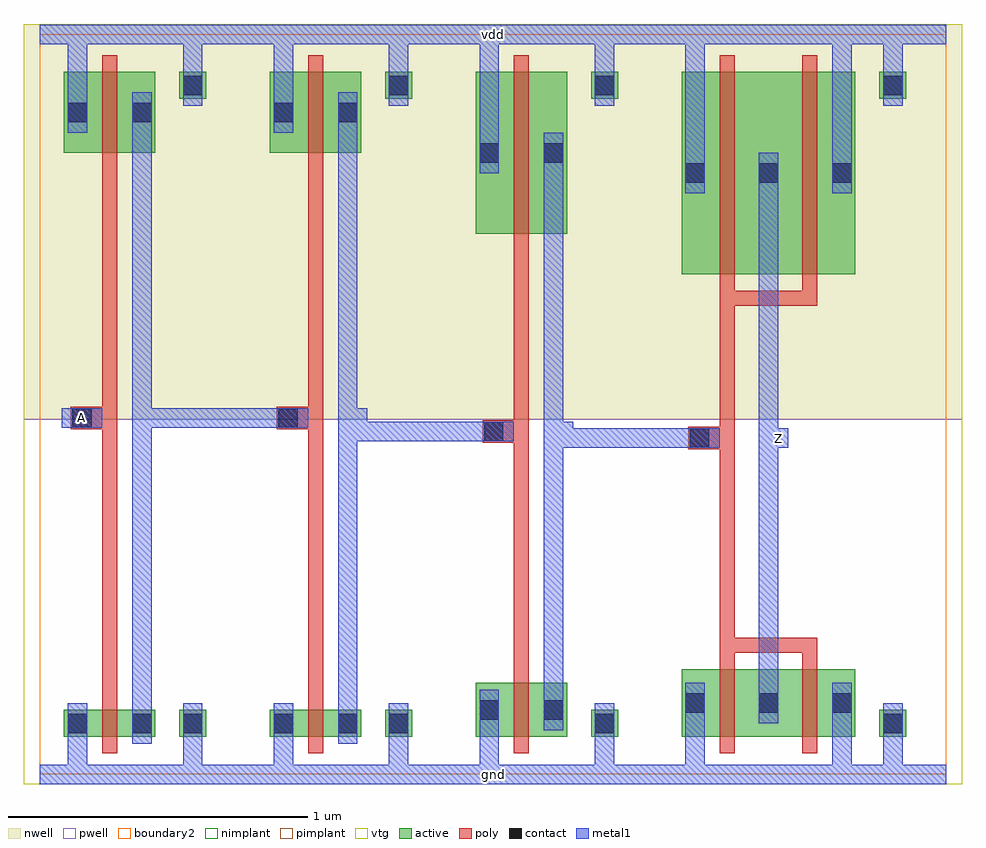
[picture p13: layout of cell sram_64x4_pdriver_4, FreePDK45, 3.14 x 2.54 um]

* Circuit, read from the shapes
.subckt sram_64x4_pdriver_4 A Z gnd vdd
M1 sram_64x4_pinv_1_1/A A gnd gnd nfet w=0.09u l=0.05u
M2 sram_64x4_pinv_12_2/A sram_64x4_pinv_1_1/A gnd gnd nfet w=0.09u l=0.05u
M3 sram_64x4_pinv_10_3/A sram_64x4_pinv_12_2/A gnd gnd nfet w=0.18u l=0.05u
M4 Z sram_64x4_pinv_10_3/A gnd gnd nfet w=0.225u l=0.05u m=2
M5 sram_64x4_pinv_1_1/A A vdd vdd pfet w=0.27u l=0.05u
M6 sram_64x4_pinv_12_2/A sram_64x4_pinv_1_1/A vdd vdd pfet w=0.27u l=0.05u
M7 sram_64x4_pinv_10_3/A sram_64x4_pinv_12_2/A vdd vdd pfet w=0.54u l=0.05u
M8 Z sram_64x4_pinv_10_3/A vdd vdd pfet w=0.675u l=0.05u m=2
.ends

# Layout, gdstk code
import gdstk
lib = gdstk.Library(unit=1e-6, precision=5e-10)
def R(c, l, rs):  # rectangles x0, y0, x1, y1
    for r in rs: c.add(gdstk.rectangle(r[:2], r[2:], *l))
def A(c, l, x, y, w, h, nx, ny, dx, dy):  # array of equal rectangles
    R(c, l, [(x+i*dx, y+j*dy, x+i*dx+w, y+j*dy+h) for i in range(nx) for j in range(ny)])
active = (1, 0)
pwell = (2, 0)
nwell = (3, 0)
nimplant = (4, 0)
pimplant = (5, 0)
vtg = (6, 0)
poly = (9, 0)
contact = (10, 0)
metal1 = (11, 0)
boundary2 = (239, 0)

sram_64x4_contact_11 = lib.new_cell('sram_64x4_contact_11')
R(sram_64x4_contact_11, active, [(0,0.0225,0.09,0.1125)])
R(sram_64x4_contact_11, nwell, [(-0.055,-0.0325,0.145,0.1675)])
R(sram_64x4_contact_11, pimplant, [(0,0.0225,0.09,0.1125)])
R(sram_64x4_contact_11, contact, [(0.0125,0.035,0.0775,0.1)])
R(sram_64x4_contact_11, metal1, [(0.0125,0,0.0775,0.135)])
R(sram_64x4_contact_11, boundary2, [(-0.055,-0.0325,0.145,0.1675)])

sram_64x4_pmos_m1_w0_270 = lib.new_cell('sram_64x4_pmos_m1_w0_270_sm1_dm1_da_p')
R(sram_64x4_pmos_m1_w0_270, active, [(0,0,0.305,0.27)])
R(sram_64x4_pmos_m1_w0_270, nwell, [(-0.08,-0.08,0.385,0.35)])
R(sram_64x4_pmos_m1_w0_270, pimplant, [(0,0,0.305,0.27)])
R(sram_64x4_pmos_m1_w0_270, vtg, [(-0.08,-0.08,0.385,0.35)])
R(sram_64x4_pmos_m1_w0_270, poly, [(0.1275,-0.055,0.1775,0.325), (0.1275,-0.055,0.1775,0.325)])
R(sram_64x4_pmos_m1_w0_270, metal1, [(0.0125,0.0675,0.0775,0.2025), (0.2275,0.0675,0.2925,0.2025)])
R(sram_64x4_pmos_m1_w0_270, boundary2, [(-0.08,-0.08,0.385,0.35)])
sram_64x4_pmos_m1_w0_270.add(gdstk.Reference(sram_64x4_contact_11, (0,0.0675)))
sram_64x4_pmos_m1_w0_270.add(gdstk.Reference(sram_64x4_contact_11, (0.215,0.0675)))
sram_64x4_pmos_m1_w0_270.add(gdstk.Label('G', (0.1525,0.135), layer=9, texttype=0))
sram_64x4_pmos_m1_w0_270.add(gdstk.Label('S', (0.045,0.135), layer=11, texttype=0))
sram_64x4_pmos_m1_w0_270.add(gdstk.Label('D', (0.26,0.135), layer=11, texttype=0))

sram_64x4_contact_10 = lib.new_cell('sram_64x4_contact_10')
R(sram_64x4_contact_10, active, [(0,0.0225,0.09,0.1125)])
R(sram_64x4_contact_10, pwell, [(-0.055,-0.0325,0.145,0.1675)])
R(sram_64x4_contact_10, nimplant, [(0,0.0225,0.09,0.1125)])
R(sram_64x4_contact_10, contact, [(0.0125,0.035,0.0775,0.1)])
R(sram_64x4_contact_10, metal1, [(0.0125,0,0.0775,0.135)])
R(sram_64x4_contact_10, boundary2, [(-0.055,-0.0325,0.145,0.1675)])

sram_64x4_nmos_m1_w0_090 = lib.new_cell('sram_64x4_nmos_m1_w0_090_sm1_dm1_da_p')
R(sram_64x4_nmos_m1_w0_090, active, [(0,0,0.305,0.09)])
R(sram_64x4_nmos_m1_w0_090, pwell, [(-0.08,-0.08,0.385,0.17)])
R(sram_64x4_nmos_m1_w0_090, nimplant, [(0,0,0.305,0.09)])
R(sram_64x4_nmos_m1_w0_090, vtg, [(-0.08,-0.08,0.385,0.17)])
R(sram_64x4_nmos_m1_w0_090, poly, [(0.1275,-0.055,0.1775,0.145), (0.1275,-0.055,0.1775,0.145)])
R(sram_64x4_nmos_m1_w0_090, metal1, [(0.0125,-0.0225,0.0775,0.1125), (0.2275,-0.0225,0.2925,0.1125)])
R(sram_64x4_nmos_m1_w0_090, boundary2, [(-0.08,-0.08,0.385,0.17)])
sram_64x4_nmos_m1_w0_090.add(gdstk.Reference(sram_64x4_contact_10, (0,-0.0225)))
sram_64x4_nmos_m1_w0_090.add(gdstk.Reference(sram_64x4_contact_10, (0.215,-0.0225)))
sram_64x4_nmos_m1_w0_090.add(gdstk.Label('G', (0.1525,0.045), layer=9, texttype=0))
sram_64x4_nmos_m1_w0_090.add(gdstk.Label('S', (0.045,0.045), layer=11, texttype=0))
sram_64x4_nmos_m1_w0_090.add(gdstk.Label('D', (0.26,0.045), layer=11, texttype=0))

sram_64x4_contact_12 = lib.new_cell('sram_64x4_contact_12')
R(sram_64x4_contact_12, active, [(0,0.0225,0.09,0.1125)])
R(sram_64x4_contact_12, nwell, [(-0.055,-0.0325,0.145,0.1675)])
R(sram_64x4_contact_12, nimplant, [(0,0.0225,0.09,0.1125)])
R(sram_64x4_contact_12, contact, [(0.0125,0.035,0.0775,0.1)])
R(sram_64x4_contact_12, metal1, [(0.0125,0,0.0775,0.135)])
R(sram_64x4_contact_12, boundary2, [(-0.055,-0.0325,0.145,0.1675)])

sram_64x4_contact_13 = lib.new_cell('sram_64x4_contact_13')
R(sram_64x4_contact_13, active, [(0,0.0225,0.09,0.1125)])
R(sram_64x4_contact_13, pwell, [(-0.055,-0.0325,0.145,0.1675)])
R(sram_64x4_contact_13, pimplant, [(0,0.0225,0.09,0.1125)])
R(sram_64x4_contact_13, contact, [(0.0125,0.035,0.0775,0.1)])
R(sram_64x4_contact_13, metal1, [(0.0125,0,0.0775,0.135)])
R(sram_64x4_contact_13, boundary2, [(-0.055,-0.0325,0.145,0.1675)])

sram_64x4_contact_14 = lib.new_cell('sram_64x4_contact_14')
R(sram_64x4_contact_14, poly, [(0.03,0,0.105,0.075)])
R(sram_64x4_contact_14, contact, [(0.035,0.005,0.1,0.07)])
R(sram_64x4_contact_14, metal1, [(0,0.005,0.135,0.07)])
R(sram_64x4_contact_14, boundary2, [(0,0,0.135,0.075)])

sram_64x4_pinv_1 = lib.new_cell('sram_64x4_pinv_1')
R(sram_64x4_pinv_1, pwell, [(-0.055,-0.0325,0.7425,1.185)])
R(sram_64x4_pinv_1, nwell, [(-0.055,1.185,0.7425,2.505)])
R(sram_64x4_pinv_1, vtg, [(-0.055,-0.0325,0.7425,1.185), (-0.055,1.185,0.7425,2.505)])
R(sram_64x4_pinv_1, poly, [(0.2075,0.27,0.2575,2.02), (0.14,1.1525,0.2075,1.2275)])
R(sram_64x4_pinv_1, metal1, [(0,-0.0325,0.6875,0.0325), (0.0925,-0.0325,0.1575,0.1025), (0.4775,0,0.5425,0.17), (0.3075,0.1025,0.3725,2.2775), (0.0725,1.1575,0.2075,1.2225), (0.34,1.1575,0.405,1.2225), (0.0925,2.1425,0.1575,2.5025), (0.4775,2.3,0.5425,2.47), (0,2.4375,0.6875,2.5025)])
R(sram_64x4_pinv_1, boundary2, [(0,0,0.6875,2.47), (0,0,0.6875,2.47)])
sram_64x4_pinv_1.add(gdstk.Reference(sram_64x4_pmos_m1_w0_270, (0.08,2.075)))
sram_64x4_pinv_1.add(gdstk.Reference(sram_64x4_nmos_m1_w0_090, (0.08,0.125)))
sram_64x4_pinv_1.add(gdstk.Reference(sram_64x4_contact_12, (0.465,2.2325)))
sram_64x4_pinv_1.add(gdstk.Reference(sram_64x4_contact_13, (0.465,0.1025)))
sram_64x4_pinv_1.add(gdstk.Reference(sram_64x4_contact_14, (0.0725,1.1525)))
sram_64x4_pinv_1.add(gdstk.Label('A', (0.14,1.19), layer=11, texttype=0))
sram_64x4_pinv_1.add(gdstk.Label('Z', (0.3725,1.19), layer=11, texttype=0))
sram_64x4_pinv_1.add(gdstk.Label('gnd', (0.344,0), layer=11, texttype=0))
sram_64x4_pinv_1.add(gdstk.Label('vdd', (0.344,2.47), layer=11, texttype=0))

sram_64x4_pmos_m1_w0_540 = lib.new_cell('sram_64x4_pmos_m1_w0_540_sm1_dm1_da_p')
R(sram_64x4_pmos_m1_w0_540, active, [(0,0,0.305,0.54)])
R(sram_64x4_pmos_m1_w0_540, nwell, [(-0.08,-0.08,0.385,0.62)])
R(sram_64x4_pmos_m1_w0_540, pimplant, [(0,0,0.305,0.54)])
R(sram_64x4_pmos_m1_w0_540, vtg, [(-0.08,-0.08,0.385,0.62)])
R(sram_64x4_pmos_m1_w0_540, poly, [(0.1275,-0.055,0.1775,0.595), (0.1275,-0.055,0.1775,0.595)])
R(sram_64x4_pmos_m1_w0_540, metal1, [(0.0125,0.2025,0.0775,0.3375), (0.2275,0.2025,0.2925,0.3375)])
R(sram_64x4_pmos_m1_w0_540, boundary2, [(-0.08,-0.08,0.385,0.62)])
sram_64x4_pmos_m1_w0_540.add(gdstk.Reference(sram_64x4_contact_11, (0,0.2025)))
sram_64x4_pmos_m1_w0_540.add(gdstk.Reference(sram_64x4_contact_11, (0.215,0.2025)))
sram_64x4_pmos_m1_w0_540.add(gdstk.Label('G', (0.1525,0.27), layer=9, texttype=0))
sram_64x4_pmos_m1_w0_540.add(gdstk.Label('S', (0.045,0.27), layer=11, texttype=0))
sram_64x4_pmos_m1_w0_540.add(gdstk.Label('D', (0.26,0.27), layer=11, texttype=0))

sram_64x4_nmos_m1_w0_180 = lib.new_cell('sram_64x4_nmos_m1_w0_180_sm1_dm1_da_p')
R(sram_64x4_nmos_m1_w0_180, active, [(0,0,0.305,0.18)])
R(sram_64x4_nmos_m1_w0_180, pwell, [(-0.08,-0.08,0.385,0.26)])
R(sram_64x4_nmos_m1_w0_180, nimplant, [(0,0,0.305,0.18)])
R(sram_64x4_nmos_m1_w0_180, vtg, [(-0.08,-0.08,0.385,0.26)])
R(sram_64x4_nmos_m1_w0_180, poly, [(0.1275,-0.055,0.1775,0.235), (0.1275,-0.055,0.1775,0.235)])
R(sram_64x4_nmos_m1_w0_180, metal1, [(0.0125,0.0225,0.0775,0.1575), (0.2275,0.0225,0.2925,0.1575)])
R(sram_64x4_nmos_m1_w0_180, boundary2, [(-0.08,-0.08,0.385,0.26)])
sram_64x4_nmos_m1_w0_180.add(gdstk.Reference(sram_64x4_contact_10, (0,0.0225)))
sram_64x4_nmos_m1_w0_180.add(gdstk.Reference(sram_64x4_contact_10, (0.215,0.0225)))
sram_64x4_nmos_m1_w0_180.add(gdstk.Label('G', (0.1525,0.09), layer=9, texttype=0))
sram_64x4_nmos_m1_w0_180.add(gdstk.Label('S', (0.045,0.09), layer=11, texttype=0))
sram_64x4_nmos_m1_w0_180.add(gdstk.Label('D', (0.26,0.09), layer=11, texttype=0))

sram_64x4_pinv_12 = lib.new_cell('sram_64x4_pinv_12')
R(sram_64x4_pinv_12, pwell, [(-0.055,-0.0325,0.7425,1.185)])
R(sram_64x4_pinv_12, nwell, [(-0.055,1.185,0.7425,2.505)])
R(sram_64x4_pinv_12, vtg, [(-0.055,-0.0325,0.7425,1.185), (-0.055,1.185,0.7425,2.505)])
R(sram_64x4_pinv_12, poly, [(0.2075,0.36,0.2575,1.75), (0.14,1.1075,0.2075,1.1825)])
R(sram_64x4_pinv_12, metal1, [(0,-0.0325,0.6875,0.0325), (0.0925,-0.0325,0.1575,0.1475), (0.4775,0,0.5425,0.17), (0.3075,0.1475,0.3725,2.1425), (0.0725,1.1125,0.2075,1.1775), (0.34,1.1125,0.405,1.1775), (0.0925,2.0075,0.1575,2.5025), (0.4775,2.3,0.5425,2.47), (0,2.4375,0.6875,2.5025)])
R(sram_64x4_pinv_12, boundary2, [(0,0,0.6875,2.47), (0,0,0.6875,2.47)])
sram_64x4_pinv_12.add(gdstk.Reference(sram_64x4_pmos_m1_w0_540, (0.08,1.805)))
sram_64x4_pinv_12.add(gdstk.Reference(sram_64x4_nmos_m1_w0_180, (0.08,0.125)))
sram_64x4_pinv_12.add(gdstk.Reference(sram_64x4_contact_12, (0.465,2.2325)))
sram_64x4_pinv_12.add(gdstk.Reference(sram_64x4_contact_13, (0.465,0.1025)))
sram_64x4_pinv_12.add(gdstk.Reference(sram_64x4_contact_14, (0.0725,1.1075)))
sram_64x4_pinv_12.add(gdstk.Label('A', (0.14,1.145), layer=11, texttype=0))
sram_64x4_pinv_12.add(gdstk.Label('Z', (0.3725,1.145), layer=11, texttype=0))
sram_64x4_pinv_12.add(gdstk.Label('gnd', (0.344,0), layer=11, texttype=0))
sram_64x4_pinv_12.add(gdstk.Label('vdd', (0.344,2.47), layer=11, texttype=0))

sram_64x4_pmos_m2_w0_675 = lib.new_cell('sram_64x4_pmos_m2_w0_675_sm1_dm1_da_p')
R(sram_64x4_pmos_m2_w0_675, active, [(0,0,0.58,0.675)])
R(sram_64x4_pmos_m2_w0_675, nwell, [(-0.08,-0.08,0.66,0.755)])
R(sram_64x4_pmos_m2_w0_675, pimplant, [(0,0,0.58,0.675)])
R(sram_64x4_pmos_m2_w0_675, vtg, [(-0.08,-0.08,0.66,0.755)])
R(sram_64x4_pmos_m2_w0_675, poly, [(0.1275,-0.105,0.4525,-0.055), (0.1275,-0.055,0.1775,0.73), (0.4025,-0.055,0.4525,0.73)])
A(sram_64x4_pmos_m2_w0_675, metal1, 0.0125, 0.27, 0.065, 0.135, 3, 1, 0.245, 0)
R(sram_64x4_pmos_m2_w0_675, boundary2, [(-0.08,-0.105,0.66,0.755)])
sram_64x4_pmos_m2_w0_675.add(gdstk.Reference(sram_64x4_contact_11, (0,0.27)))
sram_64x4_pmos_m2_w0_675.add(gdstk.Reference(sram_64x4_contact_11, (0.245,0.27)))
sram_64x4_pmos_m2_w0_675.add(gdstk.Reference(sram_64x4_contact_11, (0.49,0.27)))
sram_64x4_pmos_m2_w0_675.add(gdstk.Label('G', (0.29,-0.08), layer=9, texttype=0))
sram_64x4_pmos_m2_w0_675.add(gdstk.Label('S', (0.535,0.3375), layer=11, texttype=0))
sram_64x4_pmos_m2_w0_675.add(gdstk.Label('S', (0.045,0.3375), layer=11, texttype=0))
sram_64x4_pmos_m2_w0_675.add(gdstk.Label('D', (0.29,0.3375), layer=11, texttype=0))

sram_64x4_nmos_m2_w0_225 = lib.new_cell('sram_64x4_nmos_m2_w0_225_sm1_dm1_da_p')
R(sram_64x4_nmos_m2_w0_225, active, [(0,0,0.58,0.225)])
R(sram_64x4_nmos_m2_w0_225, pwell, [(-0.08,-0.08,0.66,0.305)])
R(sram_64x4_nmos_m2_w0_225, nimplant, [(0,0,0.58,0.225)])
R(sram_64x4_nmos_m2_w0_225, vtg, [(-0.08,-0.08,0.66,0.305)])
R(sram_64x4_nmos_m2_w0_225, poly, [(0.1275,-0.055,0.1775,0.28), (0.4025,-0.055,0.4525,0.28), (0.1275,0.28,0.4525,0.33)])
A(sram_64x4_nmos_m2_w0_225, metal1, 0.0125, 0.045, 0.065, 0.135, 3, 1, 0.245, 0)
R(sram_64x4_nmos_m2_w0_225, boundary2, [(-0.08,-0.08,0.66,0.33)])
sram_64x4_nmos_m2_w0_225.add(gdstk.Reference(sram_64x4_contact_10, (0,0.045)))
sram_64x4_nmos_m2_w0_225.add(gdstk.Reference(sram_64x4_contact_10, (0.245,0.045)))
sram_64x4_nmos_m2_w0_225.add(gdstk.Reference(sram_64x4_contact_10, (0.49,0.045)))
sram_64x4_nmos_m2_w0_225.add(gdstk.Label('G', (0.29,0.305), layer=9, texttype=0))
sram_64x4_nmos_m2_w0_225.add(gdstk.Label('S', (0.045,0.1125), layer=11, texttype=0))
sram_64x4_nmos_m2_w0_225.add(gdstk.Label('S', (0.535,0.1125), layer=11, texttype=0))
sram_64x4_nmos_m2_w0_225.add(gdstk.Label('D', (0.29,0.1125), layer=11, texttype=0))

sram_64x4_pinv_10 = lib.new_cell('sram_64x4_pinv_10')
R(sram_64x4_pinv_10, pwell, [(-0.055,-0.0325,1.0175,1.185)])
R(sram_64x4_pinv_10, nwell, [(-0.055,1.185,1.0175,2.505)])
R(sram_64x4_pinv_10, vtg, [(-0.055,-0.0325,1.0175,1.185), (-0.055,1.185,1.0175,2.505)])
R(sram_64x4_pinv_10, poly, [(0.2075,0.455,0.2575,1.565), (0.14,1.085,0.2075,1.16)])
R(sram_64x4_pinv_10, metal1, [(0,-0.0325,0.9625,0.0325), (0.0925,-0.0325,0.1575,0.17), (0.5825,-0.0325,0.6475,0.17), (0.7525,0,0.8175,0.17), (0.3375,0.17,0.4025,2.075), (0.0725,1.09,0.2075,1.155), (0.37,1.09,0.435,1.155), (0.0925,1.94,0.1575,2.5025), (0.5825,1.94,0.6475,2.5025), (0.7525,2.3,0.8175,2.47), (0,2.4375,0.9625,2.5025)])
R(sram_64x4_pinv_10, boundary2, [(0,0,0.9625,2.47), (0,0,0.9625,2.47)])
sram_64x4_pinv_10.add(gdstk.Reference(sram_64x4_pmos_m2_w0_675, (0.08,1.67)))
sram_64x4_pinv_10.add(gdstk.Reference(sram_64x4_nmos_m2_w0_225, (0.08,0.125)))
sram_64x4_pinv_10.add(gdstk.Reference(sram_64x4_contact_12, (0.74,2.2325)))
sram_64x4_pinv_10.add(gdstk.Reference(sram_64x4_contact_13, (0.74,0.1025)))
sram_64x4_pinv_10.add(gdstk.Reference(sram_64x4_contact_14, (0.0725,1.085)))
sram_64x4_pinv_10.add(gdstk.Label('A', (0.14,1.1225), layer=11, texttype=0))
sram_64x4_pinv_10.add(gdstk.Label('Z', (0.4025,1.1225), layer=11, texttype=0))
sram_64x4_pinv_10.add(gdstk.Label('gnd', (0.481,0), layer=11, texttype=0))
sram_64x4_pinv_10.add(gdstk.Label('vdd', (0.481,2.47), layer=11, texttype=0))

sram_64x4_pdriver_4 = lib.new_cell('sram_64x4_pdriver_4')
R(sram_64x4_pdriver_4, pwell, [(-0.055,-0.0325,3.08,1.185)])
R(sram_64x4_pdriver_4, nwell, [(-0.055,1.185,3.08,2.505)])
R(sram_64x4_pdriver_4, vtg, [(-0.055,-0.0325,3.08,1.185), (-0.055,1.185,3.08,2.505)])
R(sram_64x4_pdriver_4, metal1, [(0,-0.0325,3.025,0.0325), (1.715,1.09,1.78,1.155), (1.7475,1.09,2.2025,1.155), (2.4325,1.09,2.4975,1.155), (1.0275,1.1125,1.0925,1.1775), (1.06,1.1125,1.515,1.1775), (1.715,1.1225,1.78,1.145), (1.0275,1.145,1.0925,1.19), (0.0725,1.1575,0.2075,1.2225), (0.3725,1.1575,0.8275,1.2225), (0,2.4375,3.025,2.5025)])
R(sram_64x4_pdriver_4, boundary2, [(0,0,3.025,2.47), (0,0,3.025,2.47)])
sram_64x4_pdriver_4.add(gdstk.Reference(sram_64x4_pinv_1, (0,0)))
sram_64x4_pdriver_4.add(gdstk.Reference(sram_64x4_pinv_1, (0.6875,0)))
sram_64x4_pdriver_4.add(gdstk.Reference(sram_64x4_pinv_12, (1.375,0)))
sram_64x4_pdriver_4.add(gdstk.Reference(sram_64x4_pinv_10, (2.0625,0)))
sram_64x4_pdriver_4.add(gdstk.Label('Z', (2.465,1.1225), layer=11, texttype=0))
sram_64x4_pdriver_4.add(gdstk.Label('A', (0.14,1.19), layer=11, texttype=0))
sram_64x4_pdriver_4.add(gdstk.Label('gnd', (1.5125,0), layer=11, texttype=0))
sram_64x4_pdriver_4.add(gdstk.Label('vdd', (1.5125,2.47), layer=11, texttype=0))

lib.write_gds('sram_64x4_pdriver_4.gds')
